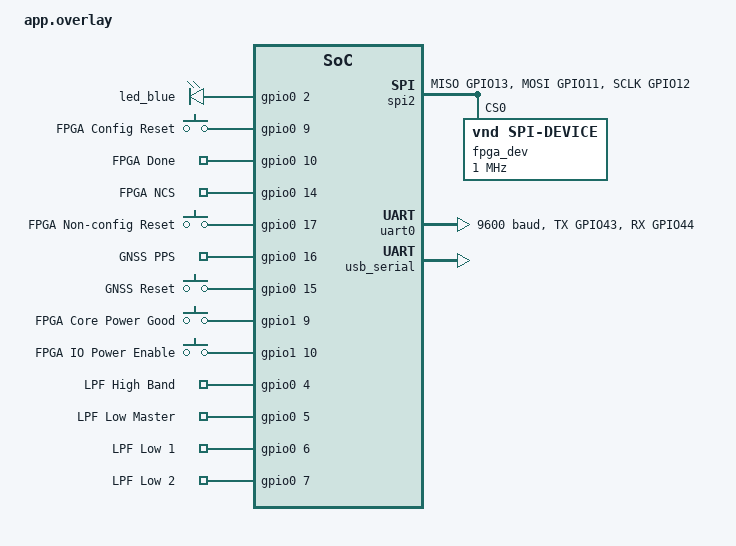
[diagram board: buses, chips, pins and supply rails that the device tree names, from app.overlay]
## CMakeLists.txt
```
# SPDX-License-Identifier: Apache-2.0
# WSPR-ease Zephyr Application

cmake_minimum_required(VERSION 3.20.0)

find_package(Zephyr REQUIRED HINTS $ENV{ZEPHYR_BASE})
project(wspr-ease)

# Include directories
target_include_directories(app PRIVATE
  ${CMAKE_CURRENT_SOURCE_DIR}/src

  # For regs.hpp
  ${CMAKE_CURRENT_SOURCE_DIR}/../FPGA
)

# Source files
target_sources(app PRIVATE
  src/main.cpp
  src/wifiManager.cpp
  src/webserver.cpp
  src/captiveDNS.cpp
  src/gnss.cpp
  src/fpga.cpp
  src/shellcmds.cpp
  src/filesystem.cpp
  src/logmanager.cpp
)
```

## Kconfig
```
# WSPR-ease Application Configuration

menu "WSPR-ease Configuration"

config WSPR_WIFI_SSID
	string "WiFi SSID to connect to"
	default ""
	help
	  The SSID of the WiFi network to connect to as a client.
	  If empty, the device will start in AP mode.

config WSPR_WIFI_PASSWORD
	string "WiFi Password"
	default ""
	help
	  The password for the WiFi network.
	  Leave empty for open networks.

config WSPR_AP_SSID
	string "AP Mode SSID"
	default "WSPR-ease"
	help
	  The SSID to use when operating as an access point.

config WSPR_AP_PASSWORD
	string "AP Mode Password"
	default "wspradmin"
	help
	  The password for AP mode. Must be at least 8 characters.

endmenu

source "Kconfig.zephyr"
```

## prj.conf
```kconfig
# WSPR-ease Zephyr Configuration
# Target: ESP32-S3

# Basic kernel settings
CONFIG_MAIN_STACK_SIZE=16384
CONFIG_HEAP_MEM_POOL_SIZE=131072

# C++ support
CONFIG_CPP=y
CONFIG_STD_CPP17=y
CONFIG_GLIBCXX_LIBCPP=y

# Logging
CONFIG_LOG=y
CONFIG_LOG_DEFAULT_LEVEL=3

# Console/Shell (USB serial)
CONFIG_CONSOLE=y
CONFIG_UART_CONSOLE=y
CONFIG_SHELL=y
CONFIG_REBOOT=y
CONFIG_SHELL_PROMPT_UART="WSPR-ease> "

# GPIO for status LEDs and FPGA control
CONFIG_GPIO=y

# SPI for FPGA communication
CONFIG_SPI=y
CONFIG_SPI_SHELL=y
CONFIG_SPI_SHELL_MAX_DEVICE_SLOTS=16

# Wi-Fi
CONFIG_WIFI=y
CONFIG_WIFI_ESP32=y
CONFIG_NET_L2_WIFI_SHELL=y
CONFIG_NET_STATISTICS=y
CONFIG_NET_STATISTICS_PER_INTERFACE=y
CONFIG_NET_STATISTICS_USER_API=y
CONFIG_NET_STATISTICS_IPV4=y
CONFIG_NET_STATISTICS_IPV6=y
CONFIG_NET_STATISTICS_IPV6_ND=y
CONFIG_NET_STATISTICS_ICMP=y
CONFIG_NET_STATISTICS_UDP=y
CONFIG_NET_STATISTICS_TCP=y
CONFIG_NET_STATISTICS_MLD=y
CONFIG_NET_STATISTICS_IGMP=y
CONFIG_NET_STATISTICS_DNS=y
CONFIG_NET_STATISTICS_ETHERNET=y
CONFIG_NET_STATISTICS_WIFI=y

# Networking
CONFIG_NETWORKING=y
CONFIG_NET_IPV4=y
CONFIG_NET_TCP=y
CONFIG_NET_UDP=y
CONFIG_NET_SOCKETS=y
CONFIG_NET_CONNECTION_MANAGER=y

# Network shell for debugging
CONFIG_NET_SHELL=y

# DHCP client (for STA mode)
CONFIG_NET_DHCPV4=y

# DHCP server (for AP mode)
CONFIG_NET_DHCPV4_SERVER=y

# DNS client
CONFIG_DNS_RESOLVER=y

# Network buffers
CONFIG_NET_PKT_RX_COUNT=24
CONFIG_NET_PKT_TX_COUNT=24
CONFIG_NET_BUF_RX_COUNT=48
CONFIG_NET_BUF_TX_COUNT=48
CONFIG_NET_MAX_CONTEXTS=12
CONFIG_NET_MAX_CONN=16

# NVS for storing WiFi credentials
CONFIG_NVS=y
CONFIG_FLASH=y
CONFIG_FLASH_MAP=y

# LittleFS for web UI files
CONFIG_FILE_SYSTEM=y
CONFIG_FILE_SYSTEM_LITTLEFS=y

# Settings subsystem for persistent config
CONFIG_SETTINGS=y
CONFIG_SETTINGS_NVS=y

# Increase stack sizes for network threads
CONFIG_NET_TX_STACK_SIZE=2048
CONFIG_NET_RX_STACK_SIZE=2048

# Floating point support for GNSS coordinates
CONFIG_FPU=y
CONFIG_CBPRINTF_FP_SUPPORT=y

# Serial/UART
CONFIG_SERIAL=y
CONFIG_UART_INTERRUPT_DRIVEN=y

# WiFi AP mode support - static IP configured in code for AP mode only
# Don't use NET_CONFIG_SETTINGS as it interferes with DHCP client mode

# WSPR-ease WiFi Configuration
# Set these to connect to your WiFi network as a client
# Leave WSPR_WIFI_SSID empty to start in AP mode
CONFIG_WSPR_WIFI_SSID="Starview"
CONFIG_WSPR_WIFI_PASSWORD="8784.brd3.14"

# AP mode settings (used when client mode fails or is not configured)
CONFIG_WSPR_AP_SSID="WSPR-ease"
CONFIG_WSPR_AP_PASSWORD="wspradmin"
```

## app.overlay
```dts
/* file: app.overlay */

/*
 * Add LittleFS partition for web UI files
 *
 * The ESP32-S3 board DTS defines default partitions:
 *   boot_partition @0x0 (64KB)
 *   slot0_partition @0x10000 (1472KB) - main app
 *   slot1_partition @0x180000 (1472KB) - OTA slot
 *   scratch_partition @0x2F0000 (64KB)
 *   storage_partition @0x300000 (64KB) - NVS
 *
 * We add LittleFS starting at 0x310000 (after storage).
 * This fits comfortably in the 8MB flash.
 */

&flash0 {
	partitions {
		compatible = "fixed-partitions";
		#address-cells = <1>;
		#size-cells = <1>;

		/* Delete all default partitions from the board dts to avoid confusion/overlap */
		/delete-node/ partition@0;
		/delete-node/ partition@10000;
		/delete-node/ partition@20000;
		/delete-node/ partition@170000;
		/delete-node/ partition@2c0000;
		/delete-node/ partition@2d0000;
		/delete-node/ partition@3b0000;
		/delete-node/ partition@3e0000;
		/delete-node/ partition@3f0000;

		/* Bootloader (64KB) */
		boot_partition: partition@0 {
			label = "mcuboot";
			reg = <0x00000000 DT_SIZE_K(64)>;
		};

		/* Application slot 0 (3MB) */
		slot0_partition: partition@10000 {
			label = "image-0";
			reg = <0x00010000 DT_SIZE_M(3)>;
		};

		/* LittleFS for web UI files (1MB) */
		lfs_partition: partition@310000 {
			label = "littlefs";
			reg = <0x00310000 DT_SIZE_M(1)>;
		};

		/* Storage/NVS (256KB) */
		storage_partition: partition@410000 {
			label = "storage";
			reg = <0x00410000 DT_SIZE_K(256)>;
		};
	};
};

/ {
	aliases {
		/* Aliases for C code access (must be lowercase with hyphens) */
		fpga-spi = &spi2;
		gnss-uart = &uart0;
		led0 = &led_blue;
	};

	chosen {
		zephyr,console = &usb_serial;
		zephyr,shell-uart = &usb_serial;
	};

	/* Virtual "LED" for board heartbeat if needed */
	leds {
		compatible = "gpio-leds";
		led_blue: led_0 {
			gpios = <&gpio0 2 GPIO_ACTIVE_HIGH>; /* Onboard LED if available, optional */
		};
	};

	/* * Custom Node: Transceiver IO
	 * Groups all discrete control signals.
	 * Note: Prop names must be snake-case by Zephyr rules, 
	 * but we access them via clean struct names in C.
	 */
	transceiver_io: transceiver-io {
		compatible = "gpio-keys"; 
		
		/* FPGA Control */
		fpga_creset: fpga-creset {
			gpios = <&gpio0 9 GPIO_ACTIVE_HIGH>;
			label = "FPGA Config Reset";
		};
		fpga_done: fpga-done {
			gpios = <&gpio0 10 GPIO_ACTIVE_HIGH>;
			label = "FPGA Done";
		};
		fpga_ncs: fpga-ncs {
			gpios = <&gpio0 14 GPIO_ACTIVE_HIGH>;
			label = "FPGA NCS";
		};
		fpga_nreset: fpga-nreset {
			gpios = <&gpio0 17 GPIO_ACTIVE_HIGH>;
			label = "FPGA Non-config Reset";
		};


		/* GNSS Timing and Control */
		pps_in: pps-in {
			gpios = <&gpio0 16 GPIO_ACTIVE_HIGH>;
			label = "GNSS PPS";
		};
		gnss_reset: gnss-reset {
			gpios = <&gpio0 15 GPIO_ACTIVE_HIGH>;
			label = "GNSS Reset";
		};
		/* Power Control */
		pg_fpgacore: pg_fpgacore {
			gpios = <&gpio1 9 GPIO_ACTIVE_HIGH>; /* IO 41 */
			label = "FPGA Core Power Good";
		};
		en_fpgaio: en_fpgaio {
			gpios = <&gpio1 10 GPIO_ACTIVE_HIGH>; /* IO 42 */
			label = "FPGA IO Power Enable";
		};

		/* Low Pass Filter Switching */
		lpf_high: lpf-high {
			gpios = <&gpio0 4 GPIO_ACTIVE_HIGH>;
			label = "LPF High Band";
		};
		lpf_low_master: lpf-low-master {
			gpios = <&gpio0 5 GPIO_ACTIVE_HIGH>;
			label = "LPF Low Master";
		};
		lpf_low1: lpf-low1 {
			gpios = <&gpio0 6 GPIO_ACTIVE_HIGH>;
			label = "LPF Low 1";
		};
		lpf_low2: lpf-low2 {
			gpios = <&gpio0 7 GPIO_ACTIVE_HIGH>;
			label = "LPF Low 2";
		};
	};
};

/* Pin Control Definitions */

&pinctrl {
	/* SPI2 (FSPI) for FPGA Tuning */
	spi2_default: spi2_default {
		group1 {
			pinmux = <SPIM2_MISO_GPIO13>,
			         <SPIM2_MOSI_GPIO11>,
			         <SPIM2_SCLK_GPIO12>;
		};
	};

	/* UART0 for GNSS (Physically RXD0/TXD0) */
	uart0_default: uart0_default {
		group1 {
			pinmux = <UART0_TX_GPIO43>,
			         <UART0_RX_GPIO44>;
			bias-pull-up;
		};
	};
};

/* Peripheral Configuration */

&spi2 {
	status = "okay";
	pinctrl-0 = <&spi2_default>;
	pinctrl-names = "default";

	/* FPGA is the only device on this bus. NCS is managed
	manually during config so that SPI slave mode can be made to
	sense NCS LOW when /CRESET is released. */

	fpga_dev: fpga@0 {
		compatible = "vnd,spi-device";
		reg = <0>;
		spi-max-frequency = <1000000>; /* 1MHz for maximum reliability during Slave SPI config */
	};
};

&uart0 {
	status = "okay";
	current-speed = <9600>;
	pinctrl-0 = <&uart0_default>;
	pinctrl-names = "default";
};

&uart1 {
	status = "disabled";
};

&usb_serial {
	status = "okay";
};
```

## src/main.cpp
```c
/*
 * WSPR-ease Main Application
 *
 * Multi-band WSPR beacon controller for ESP32-S3 + iCE40 FPGA
 */

#include <zephyr/kernel.h>
#include <zephyr/logging/log.h>
#include <zephyr/net/net_if.h>
#include <zephyr/net/net_mgmt.h>

#include "wifiManager.hpp"
#include "webserver.hpp"
#include "captiveDNS.hpp"
#include "gnss.hpp"
#include "fpga.hpp"
#include "filesystem.hpp"
#include "logmanager.hpp"

LOG_MODULE_REGISTER(wspr_ease, LOG_LEVEL_INF);

namespace WSPRRegs {
#include "regs.hpp"
};

namespace wspr {
// Register subsystem with LogManager
static Logger& logger = LogManager::instance().registerSubsystem("sys", 
    {"init", "wifi", "status", "tx"});
}

// WiFi retry configuration
#define WIFI_RETRY_DELAY_SECONDS  10
#define WIFI_MAX_RETRIES          0   // 0 = infinite retries

// Print a banner with connection info
static void printConnectionBanner(const char* ip)
{
    printk("\n");
    printk("==============================================\n");
    printk("  WSPR-ease Ready\n");
    printk("  Mode: WiFi Client\n");
    printk("  SSID: %s\n", CONFIG_WSPR_WIFI_SSID);
    printk("  Web UI: http://%s\n", ip);
    printk("==============================================\n");
    printk("\n");
}

// Try to connect to WiFi with retries
// Returns true if connected, false if no SSID configured
static bool wifiConnectWithRetry()
{
    auto& wifi = wspr::WifiManager::instance();
    using wspr::logger;

    const char* ssid = CONFIG_WSPR_WIFI_SSID;
    const char* pass = CONFIG_WSPR_WIFI_PASSWORD;

    if (ssid[0] == '\0') {
        logger.err("wifi", "No WiFi SSID configured! Set CONFIG_WSPR_WIFI_SSID in prj.conf");
        return false;
    }

    int retryCount = 0;

    while (WIFI_MAX_RETRIES == 0 || retryCount < WIFI_MAX_RETRIES) {
        if (retryCount > 0) {
            logger.inf("wifi", "WiFi retry %d, waiting %d seconds...",
                    retryCount, WIFI_RETRY_DELAY_SECONDS);
            k_sleep(K_SECONDS(WIFI_RETRY_DELAY_SECONDS));
        }

        logger.inf("wifi", "Connecting to WiFi: %s", ssid);

        if (wifi.connect(ssid, pass) == 0) {
            logger.inf("wifi", "WiFi connected, IP: %s", wifi.getIPAddress());
            return true;
        }

        logger.wrn("wifi", "WiFi connection failed");
        retryCount++;
    }

    return false;
}

static void initSubsystems(wspr::WebServer& webServer)
{
    auto& wifi = wspr::WifiManager::instance();
    auto& gnss = wspr::GNSS::instance();
    auto& fpga = wspr::FPGA::instance();
    auto& fs = wspr::FileSystem::instance();
    using wspr::logger;

    // Mount LittleFS early - doesn't need network
    fs.mount();

    // Initialize GNSS (stub mode)
    if (gnss.init() != 0) {
        logger.err("init", "GNSS init failed");
    }

    // Initialize FPGA (stub mode)
    if (fpga.init() != 0) {
        logger.err("init", "FPGA init failed");
    }

    // Initialize WiFi
    if (wifi.init() != 0) {
        logger.err("init", "WiFi init failed");
        return;
    }

    // Connect to WiFi (with retries)
    wifiConnectWithRetry();

    // Initialize and start web server
    if (webServer.init() == 0) {
        webServer.start(80);
        // Print connection banner after everything is ready
        if (wifi.isConnected()) {
            printConnectionBanner(wifi.getIPAddress());
        }
    } else {
        logger.err("init", "Web server init failed");
    }
}

int main(void)
{
    using wspr::logger;
    logger.inf("init", "WSPR-ease starting...");
    logger.inf("init", "Build: %s %s", __DATE__, __TIME__);

    // Ensure logging is initialized early
    (void)wspr::LogManager::instance();

    // Create WebServer on main's stack (persists for lifetime of program)
    wspr::WebServer webServer;

    // Wait for network interface to be ready
    k_sleep(K_SECONDS(2));

    initSubsystems(webServer);

    logger.inf("init", "Entering main loop");

    auto& wifi = wspr::WifiManager::instance();
    auto& gnss = wspr::GNSS::instance();
    auto& fpga = wspr::FPGA::instance();

    uint32_t loopCount = 0;
    bool wasConnected = wifi.isConnected();

    while (1) {
        // Check for scheduled WSPR transmission
        // (In real implementation, this would check schedule and start TX)
        if (gnss.isTXSlot() && !fpga.isTransmitting()) {
            logger.inf("tx", "TX slot detected (not transmitting in stub mode)");
        }

        // Monitor WiFi connection and reconnect if needed
        bool isConnected = wifi.isConnected();
        if (wasConnected && !isConnected) {
            logger.wrn("wifi", "WiFi disconnected! Attempting to reconnect...");
            if (wifiConnectWithRetry()) {
                printConnectionBanner(wifi.getIPAddress());
            }
        }
        wasConnected = wifi.isConnected();

        // Non-disableable warning if FPGA loaded but PLL not locked
        if (fpga.isInitialized()) {
            WSPRRegs::WSPRControl ctrl;
            fpga.readRegister(WSPRRegs::aWSPRControl, &ctrl.u);
            if (!ctrl.pllLocked) {
                printk("WARNING: FPGA PLL is not locked!\n");
            }
        }

        // Periodic status log
        if ((loopCount % 60) == 0) {  // Every 60 seconds
            logger.inf("status", "Status: WiFi=%s IP=%s RSSI=%d GNSS=%s Freq=%u",
                    wifi.isConnected() ? "connected" : "disconnected",
                    wifi.getIPAddress(),
                    wifi.getRSSI(),
                    gnss.hasFix() ? "fix" : "no fix",
                    fpga.frequency());
        }

        loopCount++;
        k_sleep(K_SECONDS(1));
    }

    return 0;
}
```

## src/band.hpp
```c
#ifndef __BAND_H__
#define __BAND_H__

// Singleton Band metadata
class Band {
public:
  Band(const Band&) = delete;
  Band& operator=(const Band&) = delete;

  static Band& get() {
    static Band inst;
    return inst;
  }

  inline static const struct {
    const char *name;
    unsigned hz;
  } metadata[] = {
    {"160m", 1836600},
    {"80m", 3568600},
    {"40m", 7038600},
    {"30m", 10138700},
    {"20m", 14095600},
    {"17m", 18104600},
    {"15m", 21094600},
    {"12m", 24924600},
    {"10m", 28124600},
  };

  static constexpr int nBands = sizeof(metadata) / sizeof(metadata[0]);

  const char *nameForHz(unsigned hz) {

    for (int k = 0; k < nBands; ++k) {
      if (metadata[k].hz == hz) return metadata[k].name;
    }

    return NULL;		// Not found.
  }

  const unsigned hzForName(const char *key) {

    for (int k = 0; k < nBands; ++k) {
      if (strcmp(metadata[k].name, key) == 0) return metadata[k].hz;
    }

    return 0;			// Not found.
  }

private:
  Band() = default;
};

#endif
```

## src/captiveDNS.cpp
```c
/*
 * Captive Portal DNS Server Implementation
 * Responds to all DNS A record queries with the AP IP
 */

#include "captiveDNS.hpp"

#include <zephyr/kernel.h>
#include <zephyr/logging/log.h>
#include <zephyr/net/socket.h>
#include <zephyr/net/net_ip.h>

#include <cstring>

LOG_MODULE_REGISTER(captiveDNS, LOG_LEVEL_DBG);

namespace wspr {

#define DNS_PORT 53
#define DNS_BUF_SIZE 512

// Extract domain name from DNS query for logging
static void extractDNSName(const uint8_t* qname, char* out, size_t outLen) {
    size_t pos = 0;
    const uint8_t* ptr = qname;

    while (*ptr != 0 && pos < outLen - 1) {
        uint8_t len = *ptr++;
        if (pos > 0 && pos < outLen - 1) {
            out[pos++] = '.';
        }
        while (len-- > 0 && pos < outLen - 1) {
            out[pos++] = *ptr++;
        }
    }
    out[pos] = '\0';
}

static K_THREAD_STACK_DEFINE(dnsStack, 2048);
static struct k_thread dnsThread;

static int dnsSock = -1;
static bool dnsRunning = false;
static uint32_t dnsRedirectIP = 0;

// DNS header structure
struct dns_header {
    uint16_t id;
    uint16_t flags;
    uint16_t qdcount;
    uint16_t ancount;
    uint16_t nscount;
    uint16_t arcount;
} __attribute__((packed));

// Build a DNS response that redirects all queries to our IP
static int buildDNSResponse(uint8_t* request, int reqLen,
                               uint8_t* response, int maxLen) {
    if (reqLen < (int)sizeof(dns_header) + 5) {
        return -1;
    }

    // Copy request header
    struct dns_header* req_hdr = (struct dns_header*)request;
    struct dns_header* resp_hdr = (struct dns_header*)response;

    memcpy(response, request, reqLen);

    // Modify header for response
    resp_hdr->flags = htons(0x8180);  // QR=1, AA=1, RD=1, RA=1
    resp_hdr->ancount = req_hdr->qdcount;  // Answer each question
    resp_hdr->nscount = 0;
    resp_hdr->arcount = 0;

    int offset = reqLen;

    // Parse question section to find where it ends
    int qdcount = ntohs(req_hdr->qdcount);
    uint8_t* qptr = request + sizeof(dns_header);

    for (int q = 0; q < qdcount && offset < maxLen - 16; q++) {
        // Skip over the QNAME
        while (*qptr != 0 && qptr < request + reqLen) {
            qptr += (*qptr) + 1;
        }
        qptr++;  // Skip null terminator

        // Get QTYPE and QCLASS
        uint16_t qtype = ntohs(*(uint16_t*)qptr);
        qptr += 2;
        qptr += 2;  // Skip QCLASS

        // Only respond to A record queries (type 1)
        if (qtype != 1) {
            continue;
        }

        // Add answer: pointer to name + type + class + TTL + rdlength + IP
        // Name pointer (0xC0 0x0C = pointer to offset 12, the question name)
        response[offset++] = 0xC0;
        response[offset++] = 0x0C;

        // Type: A (1)
        response[offset++] = 0x00;
        response[offset++] = 0x01;

        // Class: IN (1)
        response[offset++] = 0x00;
        response[offset++] = 0x01;

        // TTL: 60 seconds
        response[offset++] = 0x00;
        response[offset++] = 0x00;
        response[offset++] = 0x00;
        response[offset++] = 0x3C;

        // RDLENGTH: 4 bytes (IPv4)
        response[offset++] = 0x00;
        response[offset++] = 0x04;

        // RDATA: IP address (already in network byte order)
        response[offset++] = (dnsRedirectIP >> 0) & 0xFF;
        response[offset++] = (dnsRedirectIP >> 8) & 0xFF;
        response[offset++] = (dnsRedirectIP >> 16) & 0xFF;
        response[offset++] = (dnsRedirectIP >> 24) & 0xFF;
    }

    return offset;
}

static void dnsThreadFn(void* p1, void* p2, void* p3) {
    ARG_UNUSED(p1);
    ARG_UNUSED(p2);
    ARG_UNUSED(p3);

    uint8_t rxBuf[DNS_BUF_SIZE];
    uint8_t txBuf[DNS_BUF_SIZE];

    LOG_INF("Captive DNS server thread started");

    while (dnsRunning) {
        struct sockaddr_in clientAddr;
        socklen_t clientAddrLen = sizeof(clientAddr);

        int len = zsock_recvfrom(dnsSock, rxBuf, sizeof(rxBuf), 0,
                                  (struct sockaddr*)&clientAddr, &clientAddrLen);
        if (len < 0) {
            if (dnsRunning) {
                LOG_ERR("DNS recvfrom error: %d", errno);
            }
            continue;
        }

        // Log incoming query
        char clientIP[16];
        net_addr_ntop(AF_INET, &clientAddr.sin_addr, clientIP, sizeof(clientIP));

        if (len >= (int)sizeof(dns_header) + 1) {
            char qname[64];
            extractDNSName(rxBuf + sizeof(dns_header), qname, sizeof(qname));
            LOG_INF("DNS query from %s: %s (%d bytes)", clientIP, qname, len);
        } else {
            LOG_INF("DNS query from %s (%d bytes, too short)", clientIP, len);
        }

        // Build response
        int respLen = buildDNSResponse(rxBuf, len, txBuf, sizeof(txBuf));
        if (respLen > 0) {
            LOG_DBG("DNS response: %d bytes -> 192.168.4.1", respLen);
            int sent = zsock_sendto(dnsSock, txBuf, respLen, 0,
                         (struct sockaddr*)&clientAddr, clientAddrLen);
            if (sent < 0) {
                LOG_ERR("DNS sendto failed: %d", errno);
            }
        } else {
            LOG_WRN("DNS failed to build response");
        }
    }

    LOG_INF("Captive DNS server thread exiting");
}

CaptiveDNS& CaptiveDNS::instance() {
    static CaptiveDNS inst;
    return inst;
}

int CaptiveDNS::start(const char* redirectIP) {
    if (running) {
        LOG_WRN("Captive DNS already running");
        return 0;
    }

    LOG_INF("Starting captive DNS server, redirecting to %s", redirectIP);

    // Parse IP address
    struct in_addr addr;
    if (net_addr_pton(AF_INET, redirectIP, &addr) < 0) {
        LOG_ERR("Invalid redirect IP: %s", redirectIP);
        return -EINVAL;
    }
    dnsRedirectIP = addr.s_addr;

    // Create UDP socket
    dnsSock = zsock_socket(AF_INET, SOCK_DGRAM, IPPROTO_UDP);
    if (dnsSock < 0) {
        LOG_ERR("Failed to create DNS socket: %d", errno);
        return -errno;
    }

    // Bind to DNS port
    struct sockaddr_in bind_addr = {};
    bind_addr.sin_family = AF_INET;
    bind_addr.sin_port = htons(DNS_PORT);
    bind_addr.sin_addr.s_addr = INADDR_ANY;

    if (zsock_bind(dnsSock, (struct sockaddr*)&bind_addr, sizeof(bind_addr)) < 0) {
        LOG_ERR("Failed to bind DNS socket: %d", errno);
        zsock_close(dnsSock);
        dnsSock = -1;
        return -errno;
    }

    // Start DNS thread
    dnsRunning = true;
    k_thread_create(&dnsThread, dnsStack, K_THREAD_STACK_SIZEOF(dnsStack),
                    dnsThreadFn, NULL, NULL, NULL,
                    K_PRIO_COOP(11), 0, K_NO_WAIT);
    k_thread_name_set(&dnsThread, "captiveDNS");

    running = true;
    LOG_INF("Captive DNS server started on port %d", DNS_PORT);
    return 0;
}

void CaptiveDNS::stop() {
    if (!running) {
        return;
    }

    LOG_INF("Stopping captive DNS server");

    dnsRunning = false;

    if (dnsSock >= 0) {
        zsock_close(dnsSock);
        dnsSock = -1;
    }

    k_thread_join(&dnsThread, K_SECONDS(2));

    running = false;
    LOG_INF("Captive DNS server stopped");
}

} // namespace wspr
```

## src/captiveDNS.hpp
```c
/*
 * Captive Portal DNS Server for WSPR-ease
 * Responds to all DNS queries with the AP IP address
 */

#pragma once

#include <cstdint>

namespace wspr {

class CaptiveDNS {
public:
    static CaptiveDNS& instance();

    int start(const char* redirectIP);
    void stop();

    bool isRunning() const { return running; }

private:
    CaptiveDNS() = default;

    bool running = false;
    uint32_t redirectIP = 0;
};

} // namespace wspr
```

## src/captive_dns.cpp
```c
/*
 * Captive Portal DNS Server Implementation
 * Responds to all DNS A record queries with the AP IP
 */

#include "captive_dns.hpp"

#include <zephyr/kernel.h>
#include <zephyr/logging/log.h>
#include <zephyr/net/socket.h>
#include <zephyr/net/net_ip.h>

#include <cstring>

LOG_MODULE_REGISTER(captive_dns, LOG_LEVEL_DBG);

namespace wspr {

#define DNS_PORT 53
#define DNS_BUF_SIZE 512

// Extract domain name from DNS query for logging
static void extract_dns_name(const uint8_t* qname, char* out, size_t out_len) {
    size_t pos = 0;
    const uint8_t* ptr = qname;

    while (*ptr != 0 && pos < out_len - 1) {
        uint8_t len = *ptr++;
        if (pos > 0 && pos < out_len - 1) {
            out[pos++] = '.';
        }
        while (len-- > 0 && pos < out_len - 1) {
            out[pos++] = *ptr++;
        }
    }
    out[pos] = '\0';
}

static K_THREAD_STACK_DEFINE(dns_stack, 2048);
static struct k_thread dns_thread;

static int dns_sock = -1;
static bool dns_running = false;
static uint32_t dns_redirect_ip = 0;

// DNS header structure
struct dns_header {
    uint16_t id;
    uint16_t flags;
    uint16_t qdcount;
    uint16_t ancount;
    uint16_t nscount;
    uint16_t arcount;
} __attribute__((packed));

// Build a DNS response that redirects all queries to our IP
static int build_dns_response(uint8_t* request, int req_len,
                               uint8_t* response, int max_len) {
    if (req_len < (int)sizeof(dns_header) + 5) {
        return -1;
    }

    // Copy request header
    struct dns_header* req_hdr = (struct dns_header*)request;
    struct dns_header* resp_hdr = (struct dns_header*)response;

    memcpy(response, request, req_len);

    // Modify header for response
    resp_hdr->flags = htons(0x8180);  // QR=1, AA=1, RD=1, RA=1
    resp_hdr->ancount = req_hdr->qdcount;  // Answer each question
    resp_hdr->nscount = 0;
    resp_hdr->arcount = 0;

    int offset = req_len;

    // Parse question section to find where it ends
    int qdcount = ntohs(req_hdr->qdcount);
    uint8_t* qptr = request + sizeof(dns_header);

    for (int q = 0; q < qdcount && offset < max_len - 16; q++) {
        // Skip over the QNAME
        while (*qptr != 0 && qptr < request + req_len) {
            qptr += (*qptr) + 1;
        }
        qptr++;  // Skip null terminator

        // Get QTYPE and QCLASS
        uint16_t qtype = ntohs(*(uint16_t*)qptr);
        qptr += 2;
        qptr += 2;  // Skip QCLASS

        // Only respond to A record queries (type 1)
        if (qtype != 1) {
            continue;
        }

        // Add answer: pointer to name + type + class + TTL + rdlength + IP
        // Name pointer (0xC0 0x0C = pointer to offset 12, the question name)
        response[offset++] = 0xC0;
        response[offset++] = 0x0C;

        // Type: A (1)
        response[offset++] = 0x00;
        response[offset++] = 0x01;

        // Class: IN (1)
        response[offset++] = 0x00;
        response[offset++] = 0x01;

        // TTL: 60 seconds
        response[offset++] = 0x00;
        response[offset++] = 0x00;
        response[offset++] = 0x00;
        response[offset++] = 0x3C;

        // RDLENGTH: 4 bytes (IPv4)
        response[offset++] = 0x00;
        response[offset++] = 0x04;

        // RDATA: IP address (already in network byte order)
        response[offset++] = (dns_redirect_ip >> 0) & 0xFF;
        response[offset++] = (dns_redirect_ip >> 8) & 0xFF;
        response[offset++] = (dns_redirect_ip >> 16) & 0xFF;
        response[offset++] = (dns_redirect_ip >> 24) & 0xFF;
    }

    return offset;
}

static void dns_thread_fn(void* p1, void* p2, void* p3) {
    ARG_UNUSED(p1);
    ARG_UNUSED(p2);
    ARG_UNUSED(p3);

    uint8_t rx_buf[DNS_BUF_SIZE];
    uint8_t tx_buf[DNS_BUF_SIZE];

    LOG_INF("Captive DNS server thread started");

    while (dns_running) {
        struct sockaddr_in client_addr;
        socklen_t client_addr_len = sizeof(client_addr);

        int len = zsock_recvfrom(dns_sock, rx_buf, sizeof(rx_buf), 0,
                                  (struct sockaddr*)&client_addr, &client_addr_len);
        if (len < 0) {
            if (dns_running) {
                LOG_ERR("DNS recvfrom error: %d", errno);
            }
            continue;
        }

        // Log incoming query
        char client_ip[16];
        net_addr_ntop(AF_INET, &client_addr.sin_addr, client_ip, sizeof(client_ip));

        if (len >= (int)sizeof(dns_header) + 1) {
            char qname[64];
            extract_dns_name(rx_buf + sizeof(dns_header), qname, sizeof(qname));
            LOG_INF("DNS query from %s: %s (%d bytes)", client_ip, qname, len);
        } else {
            LOG_INF("DNS query from %s (%d bytes, too short)", client_ip, len);
        }

        // Build response
        int resp_len = build_dns_response(rx_buf, len, tx_buf, sizeof(tx_buf));
        if (resp_len > 0) {
            LOG_DBG("DNS response: %d bytes -> 192.168.4.1", resp_len);
            int sent = zsock_sendto(dns_sock, tx_buf, resp_len, 0,
                         (struct sockaddr*)&client_addr, client_addr_len);
            if (sent < 0) {
                LOG_ERR("DNS sendto failed: %d", errno);
            }
        } else {
            LOG_WRN("DNS failed to build response");
        }
    }

    LOG_INF("Captive DNS server thread exiting");
}

CaptiveDns& CaptiveDns::instance() {
    static CaptiveDns inst;
    return inst;
}

int CaptiveDns::start(const char* redirect_ip) {
    if (running_) {
        LOG_WRN("Captive DNS already running");
        return 0;
    }

    LOG_INF("Starting captive DNS server, redirecting to %s", redirect_ip);

    // Parse IP address
    struct in_addr addr;
    if (net_addr_pton(AF_INET, redirect_ip, &addr) < 0) {
        LOG_ERR("Invalid redirect IP: %s", redirect_ip);
        return -EINVAL;
    }
    dns_redirect_ip = addr.s_addr;
    redirect_ip_ = addr.s_addr;

    // Create UDP socket
    dns_sock = zsock_socket(AF_INET, SOCK_DGRAM, IPPROTO_UDP);
    if (dns_sock < 0) {
        LOG_ERR("Failed to create DNS socket: %d", errno);
        return -errno;
    }

    // Bind to DNS port
    struct sockaddr_in bind_addr = {};
    bind_addr.sin_family = AF_INET;
    bind_addr.sin_port = htons(DNS_PORT);
    bind_addr.sin_addr.s_addr = INADDR_ANY;

    if (zsock_bind(dns_sock, (struct sockaddr*)&bind_addr, sizeof(bind_addr)) < 0) {
        LOG_ERR("Failed to bind DNS socket: %d", errno);
        zsock_close(dns_sock);
        dns_sock = -1;
        return -errno;
    }

    // Start DNS thread
    dns_running = true;
    k_thread_create(&dns_thread, dns_stack, K_THREAD_STACK_SIZEOF(dns_stack),
                    dns_thread_fn, NULL, NULL, NULL,
                    K_PRIO_COOP(11), 0, K_NO_WAIT);
    k_thread_name_set(&dns_thread, "captive_dns");

    running_ = true;
    LOG_INF("Captive DNS server started on port %d", DNS_PORT);
    return 0;
}

void CaptiveDns::stop() {
    if (!running_) {
        return;
    }

    LOG_INF("Stopping captive DNS server");

    dns_running = false;

    if (dns_sock >= 0) {
        zsock_close(dns_sock);
        dns_sock = -1;
    }

    k_thread_join(&dns_thread, K_SECONDS(2));

    running_ = false;
    LOG_INF("Captive DNS server stopped");
}

} // namespace wspr
```

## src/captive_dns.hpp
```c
/*
 * Captive Portal DNS Server for WSPR-ease
 * Responds to all DNS queries with the AP IP address
 */

#pragma once

#include <cstdint>

namespace wspr {

class CaptiveDns {
public:
    static CaptiveDns& instance();

    int start(const char* redirect_ip);
    void stop();

    bool is_running() const { return running_; }

private:
    CaptiveDns() = default;

    bool running_ = false;
    uint32_t redirect_ip_ = 0;
};

} // namespace wspr
```

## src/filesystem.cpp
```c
/*
 * File System Management Implementation for WSPR-ease
 */

#include "filesystem.hpp"
#include <zephyr/kernel.h>
#include <zephyr/logging/log.h>
#include <zephyr/storage/flash_map.h>
#include <zephyr/drivers/flash.h>

#include "logmanager.hpp"

LOG_MODULE_REGISTER(filesystem, LOG_LEVEL_INF);

namespace wspr {

// Register subsystem with LogManager
static Logger& logger = LogManager::instance().registerSubsystem("fs", 
    {"mount", "ops"});

// LittleFS partition definition from devicetree
#define LFS_PARTITION_ID FIXED_PARTITION_ID(lfs_partition)

// LittleFS storage configuration with custom parameters to ensure stability
// Args: name, alignment, read_sz, prog_sz, cache_sz, lookahead_sz
FS_LITTLEFS_DECLARE_CUSTOM_CONFIG(lfsStorage, 4096, 16, 16, 64, 32);

FileSystem& FileSystem::instance() {
  static FileSystem inst;
  return inst;
}

FileSystem::FileSystem() {
  // Initialize mount configuration
  lfsMount.type = FS_LITTLEFS;
  lfsMount.mnt_point = "/lfs";
  lfsMount.fs_data = &lfsStorage;
  lfsMount.storage_dev = (void *)LFS_PARTITION_ID;
  lfsMount.flags = 0;
}

int FileSystem::mount() {
  if (mounted) {
    return 0; // Already mounted
  }

  logger.inf("mount", "Mounting LittleFS at %s...", lfsMount.mnt_point);
  
  int ret = fs_mount(&lfsMount);
  if (ret < 0) {
    logger.err("mount", "LittleFS mount failed: %d", ret);
    mounted = false;
    return ret;
  }

  logger.inf("mount", "LittleFS mounted successfully");
  mounted = true;

  // List root directory for debugging
  struct fs_dir_t dir;
  fs_dir_t_init(&dir);
  
  ret = fs_opendir(&dir, lfsMount.mnt_point);
  if (ret == 0) {
    logger.inf("ops", "Files in %s:", lfsMount.mnt_point);
    struct fs_dirent entry;
    while (fs_readdir(&dir, &entry) == 0 && entry.name[0] != '\0') {
      if (entry.type == FS_DIR_ENTRY_FILE) {
        logger.inf("ops", "  [F] %s (%zu bytes)", entry.name, (size_t)entry.size);
      } else {
        logger.inf("ops", "  [D] %s", entry.name);
      }
    }
    fs_closedir(&dir);
  }

  return 0;
}

} // namespace wspr
```

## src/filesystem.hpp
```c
/*
 * File System Management for WSPR-ease
 * Handles LittleFS mounting and management
 */

#pragma once

#include <zephyr/fs/fs.h>
#include <zephyr/fs/littlefs.h>

namespace wspr {

  class FileSystem {
  public:
    static FileSystem& instance();

    // Mount the LittleFS partition
    int mount();

    // Check if filesystem is mounted
    bool isMounted() const { return mounted; }

    // Get mount point
    const char* getMountPoint() const { return "/lfs"; }

  private:
    FileSystem();
    ~FileSystem() = default;

    // Prevent copying
    FileSystem(const FileSystem&) = delete;
    FileSystem& operator=(const FileSystem&) = delete;

    bool mounted = false;
    struct fs_mount_t lfsMount;
  };

} // namespace wspr
```

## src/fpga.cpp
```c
/*
 * FPGA Control Module Implementation for WSPR-ease
 * Handles iCE40 bitstream loading and SPI register access.
 * Strictly follows Lattice iCE40 SPI Peripheral Mode (Slave SPI) timing.
 */

#include "fpga.hpp"

namespace WSPRRegs {
#include "regs.hpp"
};

#include "filesystem.hpp"
#include "logmanager.hpp"

#include <zephyr/kernel.h>
#include <zephyr/logging/log.h>
#include <zephyr/drivers/gpio.h>
#include <zephyr/drivers/spi.h>
#include <zephyr/fs/fs.h>

#include <cstring>
#include <errno.h>
#include <stdlib.h>

LOG_MODULE_REGISTER(fpga, LOG_LEVEL_INF);

namespace wspr {

  // Register subsystem with LogManager
  static Logger& logger = LogManager::instance().registerSubsystem("fpga",
								   {"spi", "pps", "config", "bitstream"});

  // GPIO specs from devicetree (All configured as GPIO_ACTIVE_HIGH in overlay)
  static const struct gpio_dt_spec fpgaCRESET = GPIO_DT_SPEC_GET(DT_NODELABEL(fpga_creset), gpios);
  static const struct gpio_dt_spec fpgaDONE = GPIO_DT_SPEC_GET(DT_NODELABEL(fpga_done), gpios);
  static const struct gpio_dt_spec fpgaNCS = GPIO_DT_SPEC_GET(DT_NODELABEL(fpga_ncs), gpios);

  static const struct gpio_dt_spec fpgaNRESET = GPIO_DT_SPEC_GET(DT_NODELABEL(fpga_nreset), gpios);

  static const struct gpio_dt_spec pgFPGACORE = GPIO_DT_SPEC_GET(DT_NODELABEL(pg_fpgacore), gpios);
  static const struct gpio_dt_spec enFPGAIO = GPIO_DT_SPEC_GET(DT_NODELABEL(en_fpgaio), gpios);

  // iCE40 Slave SPI: Mode 0 (CPOL=0, CPHA=0), MSB First.
  static const struct spi_dt_spec fpgaSPI = SPI_DT_SPEC_GET(DT_NODELABEL(fpga_dev),
							    SPI_OP_MODE_MASTER | SPI_WORD_SET(8) | SPI_TRANSFER_MSB);

  FPGA& FPGA::instance() {
    static FPGA inst;
    return inst;
  }

  int FPGA::init() {
    logger.inf("Initializing FPGA module");

    if (!device_is_ready(fpgaCRESET.port) ||
	!device_is_ready(fpgaCRESET.port) ||
	!device_is_ready(fpgaDONE.port) ||
        !device_is_ready(fpgaNCS.port) ||
	!device_is_ready(pgFPGACORE.port) ||
        !device_is_ready(enFPGAIO.port))
    {
      logger.err("FPGA GPIO devices not ready");
      return -ENODEV;
    }

    if (!spi_is_ready_dt(&fpgaSPI)) {
      logger.err("FPGA SPI device not ready");
      return -ENODEV;
    }

    // MANDATE: Explicitly start with enFPGAIO DEASSERTED (Physical Low).
    // The hardware has a 10k pulldown, but we ensure it in software too.
    gpio_pin_configure_dt(&enFPGAIO, GPIO_OUTPUT_LOW);

    // Hold FPGA in config reset and set CS LOW for SPI slave mode
    gpio_pin_configure_dt(&fpgaNRESET, GPIO_OUTPUT_LOW);
    gpio_pin_configure_dt(&fpgaCRESET, GPIO_OUTPUT_LOW);
    gpio_pin_configure_dt(&fpgaNCS, GPIO_OUTPUT_LOW);
    gpio_pin_configure_dt(&pgFPGACORE, GPIO_INPUT);
    gpio_pin_configure_dt(&fpgaDONE, GPIO_INPUT | GPIO_PULL_UP);

    logger.inf("enFPGAIO deasserted. Waiting for FPGA Core power good (pgFPGACORE)...");

    // Power Sequencing: Wait for Core Power Good
    uint32_t startTime = k_uptime_get_32();
    bool pgOK = false;

    while (!pgOK && k_uptime_get_32() - startTime < 1000) {

      if (gpio_pin_get_dt(&pgFPGACORE) > 0) {
	pgOK = true;
	logger.inf("pgFPGACORE asserted after %u ms", k_uptime_get_32() - startTime);
      }
      k_msleep(5);
    }

    if (!pgOK) {
      logger.wrn("Timeout waiting for pgFPGACORE! Proceeding anyway (Bypass)...");
    }

    // Enable FPGA IO Power
    logger.inf("Enabling FPGA IO power (enFPGAIO)...");
    gpio_pin_set_dt(&enFPGAIO, 1); // Physical High
    k_msleep(100); // Stabilization delay

    // Proceed with configuration
    char bitstreamPath[256];
    snprintf(bitstreamPath, sizeof(bitstreamPath), "%s/fpga.img",
             FileSystem::instance().getMountPoint());

    int ret = loadBitstream(bitstreamPath);
    if (ret < 0) {
      initialized = false;
      return ret;
    }

    initialized = true;
    logger.inf("FPGA initialized and running");
    return 0;
  }

  int FPGA::reset() {
    gpio_pin_set_dt(&fpgaNRESET, 0);	// Assert software reset
    gpio_pin_set_dt(&fpgaNCS, 0);	// SPI slave mode indicator
    gpio_pin_set_dt(&fpgaCRESET, 0);	// Assert FPGA config reset
    k_msleep(1);
    gpio_pin_set_dt(&fpgaCRESET, 1);	// Release FPGA config reset
    k_msleep(2);
    gpio_pin_set_dt(&fpgaNCS, 1);	// Return SPI NCS to deasserted idle state

    if (gpio_pin_get_dt(&fpgaDONE) > 0) {
      logger.err("FPGA Error: CDONE is HIGH immediately after reset pulse!");
      return -EIO;
    }

    // Release software reset when chip is fully operational.
    k_msleep(1);
    gpio_pin_set_dt(&fpgaNRESET, 1);
    return 0;
  }

  int FPGA::loadBitstream(const char* path) {
    struct fs_file_t file;
    fs_file_t_init(&file);

    int ret = fs_open(&file, path, FS_O_READ);
    if (ret < 0) {
      logger.err("bitstream", "Could not open %s: %s", path, strerror(-ret));
      return ret;
    }

    struct fs_dirent stat;
    fs_stat(path, &stat);
    logger.inf("bitstream", "Bitstream %s opened (%zu bytes)", path, (size_t)stat.size);

    const size_t chunk_size = 2048;
    uint8_t* buffer = (uint8_t*)k_malloc(chunk_size);
    if (!buffer) {
      logger.err("bitstream", "Failed to allocate bitstream buffer");
      fs_close(&file);
      return -ENOMEM;
    }

    if (reset() != 0) {
      k_free(buffer);
      fs_close(&file);
      return -EIO;
    }

    gpio_pin_set_dt(&fpgaNCS, 0);
    uint8_t dummy = 0x00;
    struct spi_buf sDummy = { .buf = &dummy, .len = 1 };
    struct spi_buf_set sDummies = { .buffers = &sDummy, .count = 1 };
    spi_write_dt(&fpgaSPI, &sDummies);
    gpio_pin_set_dt(&fpgaNCS, 1);

    logger.inf("bitstream", "Transmitting bitstream...");

    ssize_t bytesRead;
    size_t totalBytes = 0;
    struct spi_buf sBuf = { .buf = buffer, .len = chunk_size };
    struct spi_buf_set sBufs = { .buffers = &sBuf, .count = 1 };

    while ((bytesRead = fs_read(&file, buffer, chunk_size)) > 0) {
      sBuf.len = bytesRead;
      ret = spi_write_dt(&fpgaSPI, &sBufs);
      if (ret < 0) {
	logger.err("bitstream", "SPI write error at %zu: %d", totalBytes, ret);
	k_free(buffer);
	fs_close(&file);
	gpio_pin_set_dt(&fpgaNCS, 1);
	return ret;
      }
      totalBytes += bytesRead;
    }

    fs_close(&file);
    logger.inf("bitstream", "Transmitted %zu bytes", totalBytes);

    gpio_pin_set_dt(&fpgaNCS, 1);

    bool success = false;
    for (int i = 0; i < 100; i++) {

      if (gpio_pin_get_dt(&fpgaDONE) > 0) {
	success = true;
	break;
      }
      spi_write_dt(&fpgaSPI, &sDummies);
    }

    if (success) {
      logger.inf("bitstream", "FPGA SUCCESS: CDONE is HIGH");
      memset(buffer, 0x00, 8);
      sBuf.len = 8;
      spi_write_dt(&fpgaSPI, &sBufs);
      ret = 0;
    } else {
      logger.err("bitstream", "FPGA FAILURE: CDONE remains LOW");
      ret = -EAGAIN;
    }

    k_free(buffer);
    return ret;
  }

  int FPGA::setFrequency(uint32_t freqHz) {
    currentFreq = freqHz;
    if (!initialized) return -ENODEV;

    // NCO tuning for 90 MHz system clock and 180 Msps effective sample rate.
    // One full RF cycle corresponds to 6 state transitions (NCO overflows).
    // The NCO frequency f_nco = 6 * freqHz.
    // The tuning word per 180 Msps sample is M = (f_nco / 180,000,000) * 2^32.
    // M = (6 * freqHz / 180,000,000) * 2^32 = (freqHz / 30,000,000) * 2^32.
    // In each 90 MHz clock cycle (2 samples), the FPGA takes two steps of size M.

    // Using 64-bit math to avoid overflow before division
    const uint64_t f_limit = 30000000ULL;
    uint64_t word = ((uint64_t)freqHz << 32) / f_limit;

    return spiWriteReg(WSPRRegs::aWSPRTuning, (uint32_t)word);
  }

  int FPGA::startTX() {
    if (!initialized) return -ENODEV;
    if (transmitting) return -EALREADY;
    logger.inf("config", "Starting transmission at %u Hz", currentFreq);
    transmitting = true;

    WSPRRegs::WSPRControl ctrl;
    spiReadReg(WSPRRegs::aWSPRControl, &ctrl.u);
    ctrl.txEnable = 1;
    return spiWriteReg(WSPRRegs::aWSPRControl, ctrl.u);
  }

  int FPGA::stopTX() {
    if (!initialized) return -ENODEV;
    if (!transmitting) return 0;
    logger.inf("config", "Stopping transmission");
    transmitting = false;

    WSPRRegs::WSPRControl ctrl;
    spiReadReg(WSPRRegs::aWSPRControl, &ctrl.u);
    ctrl.txEnable = 0;
    return spiWriteReg(WSPRRegs::aWSPRControl, ctrl.u);
  }

  int FPGA::setPowerLevel(uint8_t level) {
    if (!initialized) return -ENODEV;
    logger.inf("config", "Setting FPGA power level to %u", level);

    WSPRRegs::WSPRControl ctrl;
    spiReadReg(WSPRRegs::aWSPRControl, &ctrl.u);
    ctrl.powerThresh = level;
    return spiWriteReg(WSPRRegs::aWSPRControl, ctrl.u);
  }

  int FPGA::sendSymbol(uint8_t symbol) {
    if (!initialized) return -ENODEV;

    // WSPR tone spacing is 1.46484375 Hz (12000 / 8192)
    // All frequency shifts are now handled here.
    double toneFreq = (double)currentFreq + (double)symbol * 1.46484375;
    return setFrequency((uint32_t)toneFreq);
  }

  int FPGA::setLPFBand(WSPRBand band) {
    logger.inf("config", "NOTE: FPGA setLPFBand not yet implemented");
    currentBand = band;
    return 0;
  }

  uint32_t FPGA::getCounter() {
    if (!initialized) return 0;

    WSPRRegs::WSPRPPS val;
    spiReadReg(WSPRRegs::aWSPRPPS, &val.u);
    return val.u;
  }

  int FPGA::spiWriteReg(uint8_t reg, uint32_t value) {
    uint8_t txBuf[5];
    txBuf[0] = 0x80 | (reg & 0x7F);
    txBuf[1] = (value >> 24) & 0xFF;
    txBuf[2] = (value >> 16) & 0xFF;
    txBuf[3] = (value >> 8) & 0xFF;
    txBuf[4] = value & 0xFF;

    gpio_pin_set_dt(&fpgaNCS, 0);
    struct spi_buf sBuf = { .buf = txBuf, .len = sizeof(txBuf) };
    struct spi_buf_set sBufs = { .buffers = &sBuf, .count = 1 };
    int ret = spi_write_dt(&fpgaSPI, &sBufs);
    gpio_pin_set_dt(&fpgaNCS, 1);
    return ret;
  }

  int FPGA::spiReadReg(uint8_t reg, uint32_t* value) {
    uint8_t txBuf[5] = { (uint8_t)(reg & 0x7F), 0, 0, 0, 0 };
    uint8_t rxBuf[5] = { 0 };

    gpio_pin_set_dt(&fpgaNCS, 0);
    struct spi_buf sTX = { .buf = txBuf, .len = 5 };
    struct spi_buf_set sTXs = { .buffers = &sTX, .count = 1 };
    struct spi_buf sRX = { .buf = rxBuf, .len = 5 };
    struct spi_buf_set sRXs = { .buffers = &sRX, .count = 1 };
    int ret = spi_transceive_dt(&fpgaSPI, &sTXs, &sRXs);
    gpio_pin_set_dt(&fpgaNCS, 1);

    if (ret == 0) {
      // Data is in rxBuf[1..4] because Byte 0 was the address/command
      *value = ((uint32_t)rxBuf[1] << 24) |
	((uint32_t)rxBuf[2] << 16) |
	((uint32_t)rxBuf[3] << 8) |
	(uint32_t)rxBuf[4];
    }
    return ret;
  }

} // namespace wspr
```

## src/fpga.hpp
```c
/*
 * FPGA Control Module for WSPR-ease
 * Handles iCE40 FPGA communication via SPI
 */

#pragma once

#include <cstdint>

namespace wspr {

  // WSPR band definitions (dial frequencies in Hz)
  enum class WSPRBand : uint32_t {
    Band160m = 1836600,
    Band80m  = 3568600,
    Band60m  = 5287200,
    Band40m  = 7038600,
    Band30m  = 10138700,
    Band20m  = 14095600,
    Band17m  = 18104600,
    Band15m  = 21094600,
    Band12m  = 24924600,
    Band10m  = 28124600,
    Band6m   = 50293000,
  };

  class FPGA {
  public:
    static FPGA& instance();

    static const int tcxoFreqHz = 40*1000*1000;

    int init();
    int reset();
    int loadBitstream(const char* path);

    // Frequency control
    int setFrequency(uint32_t freq_hz);
    uint32_t frequency() const { return currentFreq; }

    // Transmission control
    int startTX();
    int stopTX();
    bool isTransmitting() const { return initialized && transmitting; }

    // Power control (0-255)
    int setPowerLevel(uint8_t level);

    // Send WSPR symbol (0-3) - 4-FSK modulation
    int sendSymbol(uint8_t symbol);

    // LPF band switching
    int setLPFBand(WSPRBand band);
    WSPRBand getBand() const { return currentBand; }

    uint32_t getCounter();
    uint32_t getLiveCounter();

    // Raw register access for diagnostics
    int readRegister(uint8_t reg, uint32_t* value) { return spiReadReg(reg, value); }

    bool isInitialized() const { return initialized; }

  private:
    FPGA() = default;

    int spiWriteReg(uint8_t reg, uint32_t value);
    int spiReadReg(uint8_t reg, uint32_t* value);

    bool initialized = false;
    bool transmitting = false;
    uint32_t currentFreq = 0;
    WSPRBand currentBand = WSPRBand::Band20m;
  };

} // namespace wspr
```

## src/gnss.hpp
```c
/*
 * GNSS Module for WSPR-ease
 * Handles GPS/GNSS receiver for time sync and location
 */

#pragma once

#include <cstdint>
#include <zephyr/kernel.h>

namespace wspr {

struct GNSSData {
    bool valid;
    double latitude;
    double longitude;
    double altitude;
    float hdop;       // Horizontal Dilution of Precision (lower is better)
    float avgSNR;     // Average Signal-to-Noise Ratio (dB-Hz)
    uint8_t satellites;
    uint8_t hour;
    uint8_t minute;
    uint8_t second;
    uint16_t year;
    uint8_t month;
    uint8_t day;
};

class GNSS {
public:
    static GNSS& instance();

    int init();
    int reset();
    
    // Start/Stop processing (thread-safe)
    void start();
    void stop();

    bool hasFix() const { return data.valid; }
    int satellites() const { return data.satellites; }
    double latitude() const { return data.latitude; }
    double longitude() const { return data.longitude; }
    double altitude() const { return data.altitude; }
    float getHDOP() const { return data.hdop; }
    float avgSNR() const { return data.avgSNR; }

    const char* timeString() const { return timeStr; }
    const char* gridLocator() const { return grid; }

    /**
     * @brief Copy the last complete NMEA sentence into the provided buffer.
     * 
     * @param dest Target buffer
     * @param maxLen Maximum bytes to copy
     * @return size_t Bytes copied (excluding null terminator)
     */
    size_t getRawNmea(char* dest, size_t maxLen) const;

    void setMonitor(bool enable) { monitorEnabled = enable; }
    bool isMonitoring() const { return monitorEnabled; }
    
    // Message queue for monitor mode
    struct k_msgq* getMonitorQueue() { return &monitorMsgQ; }

    GNSSData getData() const {
        k_mutex_lock(&mutex, K_FOREVER);
        GNSSData d = data;
        k_mutex_unlock(&mutex);
        return d;
    }

    // Get Unix timestamp (seconds since epoch)
    int64_t unixTime() const;

    // Check if we're at the start of an even minute (for WSPR timing)
    bool isTXSlot() const;

private:
    GNSS() = default;

    void computeGrid();
    void formatTime();
    void processLoop();
    void parseNMEA(char* line);

    // Thread management
    static void threadFn(void* p1, void* p2, void* p3);
    struct k_thread threadData;
    bool running = false;

    GNSSData data = {};
    char timeStr[20] = "n/a";
    char grid[7] = "AA00aa";
    char lastNmea[256] = "";

    // UART device
    const struct device* uartDev = nullptr;
    char nmeaBuf[256];
    int nmeaPos = 0;

    // Synchronization
    mutable struct k_mutex mutex;

    bool monitorEnabled = false;
    struct k_msgq monitorMsgQ;
    char msgq_buffer[4 * 256]; // Buffer for 4 NMEA sentences
};

} // namespace wspr
```
